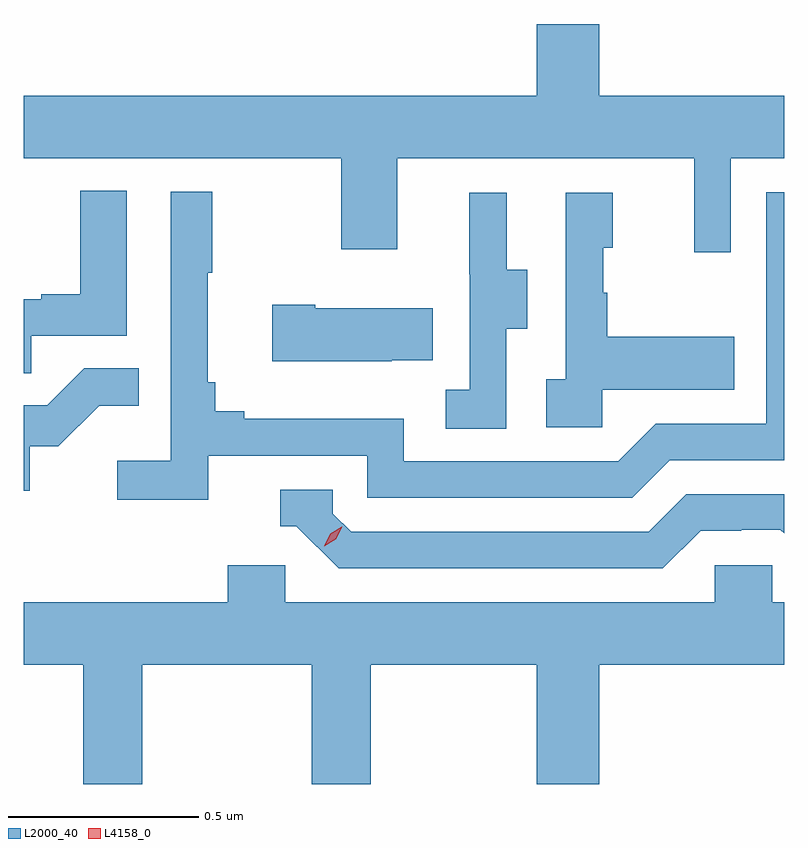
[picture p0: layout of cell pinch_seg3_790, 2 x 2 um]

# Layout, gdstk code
import gdstk
lib = gdstk.Library(unit=1e-6, precision=1e-09)
def P(c, l, *ps):  # polygons
    for p in ps: c.add(gdstk.Polygon(p, *l))
L2000_40 = (2000, 40)
L4158_0 = (4158, 0)

pinch_seg3_790 = lib.new_cell('pinch_seg3_790')
P(pinch_seg3_790, L2000_40, [(824.859,734.216),(824.999,734.216),(824.999,734.38),(824.512,734.38),(824.512,734.569),(824.348,734.569),(824.348,734.38),(822.999,734.38),(822.999,734.216),(823.834,734.216),(823.834,733.977),(823.981,733.977),(823.981,734.216),(824.762,734.216),(824.762,733.968),(824.859,733.968)],
  [(823.019,733.749),(823.27,733.749),(823.27,734.131),(823.148,734.131),(823.148,733.858),(823.045,733.858),(823.045,733.845),(822.999,733.845),(822.999,733.651),(823.019,733.651)],
  [(823.484,733.434),(823.902,733.434),(823.902,733.323),(824.599,733.323),(824.698,733.422),(824.999,733.422),(824.999,734.127),(824.952,734.127),(824.952,733.518),(824.661,733.518),(824.562,733.419),(823.998,733.419),(823.998,733.531),(823.579,733.531),(823.579,733.55),(823.502,733.55),(823.502,733.627),(823.483,733.627),(823.483,733.915),(823.495,733.915),(823.495,734.128),(823.386,734.128),(823.386,733.42),(823.245,733.42),(823.245,733.318),(823.484,733.318)],
  [(824.268,733.768),(824.323,733.768),(824.323,733.923),(824.269,733.923),(824.269,734.125),(824.171,734.125),(824.171,733.911),(824.172,733.911),(824.172,733.607),(824.109,733.607),(824.109,733.504),(824.268,733.504)],
  [(824.52,733.607),(824.867,733.607),(824.867,733.747),(824.533,733.747),(824.533,733.862),(824.523,733.862),(824.523,733.98),(824.548,733.98),(824.548,734.125),(824.424,734.125),(824.424,733.634),(824.373,733.634),(824.373,733.509),(824.52,733.509)],
  [(823.967,733.685),(824.075,733.685),(824.075,733.822),(823.765,733.822),(823.765,733.83),(823.653,733.83),(823.653,733.682),(823.967,733.682)],
  [(823.014,733.458),(823.09,733.458),(823.197,733.565),(823.301,733.565),(823.301,733.664),(823.158,733.664),(823.06,733.566),(822.999,733.566),(822.999,733.341),(823.014,733.341)],
  [(824.779,733.236),(824.886,733.236),(824.886,733.239),(824.989,733.239),(824.999,733.229),(824.999,733.332),(824.742,733.332),(824.643,733.233),(823.86,733.233),(823.812,733.281),(823.812,733.344),(823.673,733.344),(823.673,733.248),(823.716,733.248),(823.827,733.137),(824.68,733.137)],
  [(823.311,732.884),(823.756,732.884),(823.756,732.57),(823.911,732.57),(823.911,732.884),(824.348,732.884),(824.348,732.57),(824.512,732.57),(824.512,732.884),(824.999,732.884),(824.999,733.048),(824.967,733.048),(824.967,733.146),(824.817,733.146),(824.817,733.048),(823.686,733.048),(823.686,733.146),(823.535,733.146),(823.535,733.048),(822.999,733.048),(822.999,732.884),(823.156,732.884),(823.156,732.57),(823.311,732.57)])
P(pinch_seg3_790, L4158_0, [(823.789,733.195),(823.789,733.195),(823.805,733.228),(823.835,733.247),(823.836,733.247),(823.836,733.247),(823.82,733.214),(823.789,733.195)])

lib.write_gds('pinch_seg3_790.gds')
